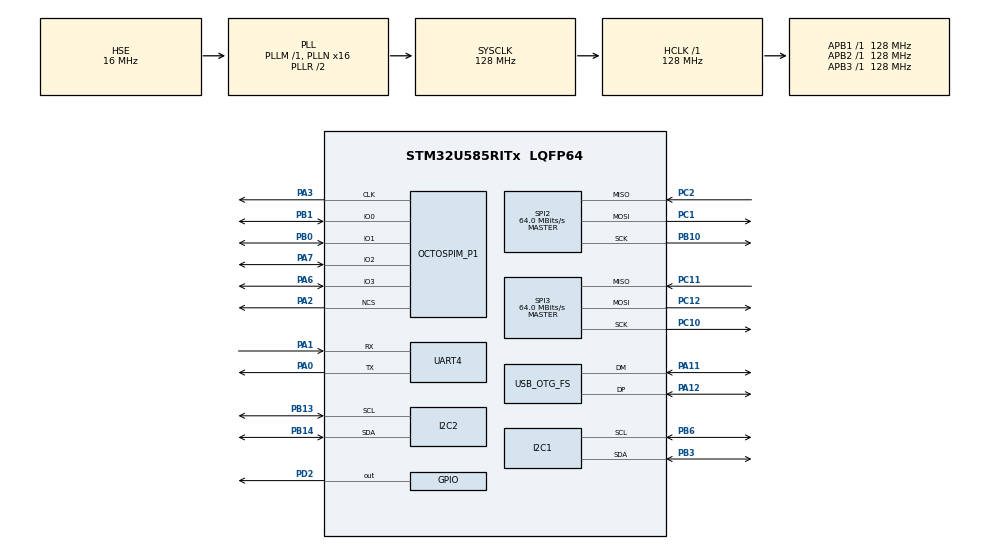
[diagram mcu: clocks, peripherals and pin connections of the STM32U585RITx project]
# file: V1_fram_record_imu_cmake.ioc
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CORTEX_M33_NS.userName=CORTEX_M33
I2C1.Timing=0x20A0C4DF
I2C2.Timing=0x20A0C4DF
Mcu.Family=STM32U5
Mcu.Name=STM32U585RITx
Mcu.Package=LQFP64
NVIC.OTG_FS_IRQn=true\:0\:0\:false\:false\:true\:true\:true\:true
NVIC.PriorityGroup=NVIC_PRIORITYGROUP_4
OCTOSPI1.ClockPrescaler=2
OCTOSPI1.DeviceSize=22
PA0.Mode=Asynchronous
PA0.Signal=UART4_TX
PA1.Mode=Asynchronous
PA1.Signal=UART4_RX
PA11.Mode=Device_Only
PA11.Signal=USB_OTG_FS_DM
PA12.Mode=Device_Only
PA12.Signal=USB_OTG_FS_DP
PA13\ (JTMS/SWDIO).Mode=Serial_Wire
PA13\ (JTMS/SWDIO).Signal=DEBUG_JTMS-SWDIO
PA14\ (JTCK/SWCLK).Mode=Serial_Wire
PA14\ (JTCK/SWCLK).Signal=DEBUG_JTCK-SWCLK
PA2.Mode=OCTOSPI1_Port1_NCS
PA2.Signal=OCTOSPIM_P1_NCS
PA3.Mode=O1_P1_CLK
PA3.Signal=OCTOSPIM_P1_CLK
PA6.Mode=OCTOSPI1_IOL_Port1L
PA6.Signal=OCTOSPIM_P1_IO3
PA7.Mode=OCTOSPI1_IOL_Port1L
PA7.Signal=OCTOSPIM_P1_IO2
PB0.Mode=OCTOSPI1_IOL_Port1L
PB0.Signal=OCTOSPIM_P1_IO1
PB1.Mode=OCTOSPI1_IOL_Port1L
PB1.Signal=OCTOSPIM_P1_IO0
PB10.Mode=Full_Duplex_Master
PB10.Signal=SPI2_SCK
PB13.Mode=I2C
PB13.Signal=I2C2_SCL
PB14.Mode=I2C
PB14.Signal=I2C2_SDA
PB3\ (JTDO/TRACESWO).Mode=I2C
PB3\ (JTDO/TRACESWO).Signal=I2C1_SDA
PB6.Mode=I2C
PB6.Signal=I2C1_SCL
PC1.Mode=Full_Duplex_Master
PC1.Signal=SPI2_MOSI
PC10.Mode=Full_Duplex_Master
PC10.Signal=SPI3_SCK
PC11.Mode=Full_Duplex_Master
PC11.Signal=SPI3_MISO
PC12.Mode=Full_Duplex_Master
PC12.Signal=SPI3_MOSI
PC14-OSC32_IN\ (PC14).Mode=LSE-External-Oscillator
PC14-OSC32_IN\ (PC14).Signal=RCC_OSC32_IN
PC15-OSC32_OUT\ (PC15).Mode=LSE-External-Oscillator
PC15-OSC32_OUT\ (PC15).Signal=RCC_OSC32_OUT
PC2.Mode=Full_Duplex_Master
PC2.Signal=SPI2_MISO
PD2.Signal=GPIO_Output
PH0-OSC_IN\ (PH0).Mode=HSE-External-Oscillator
PH0-OSC_IN\ (PH0).Signal=RCC_OSC_IN
PH1-OSC_OUT\ (PH1).Mode=HSE-External-Oscillator
PH1-OSC_OUT\ (PH1).Signal=RCC_OSC_OUT
ProjectManager.HeapSize=0x200
ProjectManager.StackSize=0x400
ProjectManager.TargetToolchain=CMake
RCC.ADCFreq_Value=16000000
RCC.AHBFreq_Value=128000000
RCC.APB1Freq_Value=128000000
RCC.APB1TimFreq_Value=128000000
RCC.APB2Freq_Value=128000000
RCC.APB2TimFreq_Value=128000000
RCC.APB3Freq_Value=128000000
RCC.CortexFreq_Value=128000000
RCC.EPOD_VALUE=16000000
RCC.HCLKFreq_Value=128000000
RCC.HSE_VALUE=16000000
RCC.HSI48_VALUE=48000000
RCC.HSI_VALUE=16000000
RCC.LSIDIV_VALUE=32000
RCC.MSI_VALUE=4000000
RCC.PLLN=16
RCC.PLLSourceVirtual=RCC_PLLSOURCE_HSE
RCC.SYSCLKFreq_VALUE=128000000
RCC.SYSCLKSource=RCC_SYSCLKSOURCE_PLLCLK
RCC.USBFreq_Value=48000000
RCC.VCOOutputFreq_Value=256000000
SPI2.BaudRatePrescaler=SPI_BAUDRATEPRESCALER_2
SPI2.CalculateBaudRate=64.0 MBits/s
SPI2.DataSize=SPI_DATASIZE_8BIT
SPI2.Direction=SPI_DIRECTION_2LINES
SPI2.Mode=SPI_MODE_MASTER
SPI2.VirtualType=VM_MASTER
SPI3.CalculateBaudRate=64.0 MBits/s
SPI3.Direction=SPI_DIRECTION_2LINES
SPI3.Mode=SPI_MODE_MASTER
SPI3.VirtualType=VM_MASTER
USB_OTG_FS.VirtualMode=Device_Only
VP_ICACHE_VS_ICACHE.Mode=DirectMappedCache
VP_LPBAMQUEUE_VS_QUEUE.Mode=QUEUEMODE
VP_LPBAM_VS_SIG1.Mode=SmartRun
VP_LPBAM_VS_SIG4.Mode=LPDMA1
VP_MEMORYMAP_VS_MEMORYMAP.Mode=CurAppReg
VP_OCTOSPI1_VS_quad.Mode=quad_mode
VP_PWR_VS_SECSignals.Mode=Security/Privilege
board=custom

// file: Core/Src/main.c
/* USER CODE BEGIN Header */
/**
  ******************************************************************************
  * @file           : main.c
  * @brief          : Main program body
  ******************************************************************************
  * @attention
  *
  * Copyright (c) 2026 STMicroelectronics.
  * All rights reserved.
  *
  * This software is licensed under terms that can be found in the LICENSE file
  * in the root directory of this software component.
  * If no LICENSE file comes with this software, it is provided AS-IS.
  *
  ******************************************************************************
  */
/* USER CODE END Header */
#include "main.h"

/* USER CODE BEGIN Includes */
#include <stdlib.h>
#include <stdio.h>
#include "tusb.h"
#include "tusb_config.h"
#include "icm20948.h"
/* USER CODE END Includes */

I2C_HandleTypeDef hi2c1;
I2C_HandleTypeDef hi2c2;

OSPI_HandleTypeDef hospi1;

SPI_HandleTypeDef hspi2;
SPI_HandleTypeDef hspi3;

UART_HandleTypeDef huart4;

PCD_HandleTypeDef hpcd_USB_OTG_FS;

void SystemClock_Config(void);
static void MX_GPIO_Init(void);
static void MX_I2C1_Init(void);
static void MX_OCTOSPI1_Init(void);
static void MX_SPI2_Init(void);
static void MX_SPI3_Init(void);
static void MX_USB_OTG_FS_PCD_Init(void);
static void MX_I2C2_Init(void);
static void MX_UART4_Init(void);
static void MX_ICACHE_Init(void);

/* USER CODE BEGIN 0 */
int _write(int file, char *ptr, int len)
{
    if (tud_cdc_connected())
    {
        tud_cdc_write(ptr, len);
        tud_cdc_write_flush();
    }

    return len;
}
/* USER CODE END 0 */

int main(void)
{

  /* MCU Configuration--------------------------------------------------------*/

  /* Reset of all peripherals, Initializes the Flash interface and the Systick. */
  HAL_Init();

  /* Configure the system clock */
  SystemClock_Config();

  /* Initialize all configured peripherals */
  MX_GPIO_Init();
  MX_I2C1_Init();
  MX_OCTOSPI1_Init();
  MX_SPI2_Init();
  MX_SPI3_Init();
  MX_USB_OTG_FS_PCD_Init();
  MX_I2C2_Init();
  MX_UART4_Init();
  MX_ICACHE_Init();
  /* USER CODE BEGIN 2 */
//  tusb_rhport_init_t dev_init = {
//		  .role = TUSB_ROLE_DEVICE,
//		  .speed = TUSB_SPEED_FULL
//  };
//
//  tusb_init(0, &dev_init);
  tusb_init();

  /* Enable LDO for ICM20948 via PD2 */
  HAL_GPIO_WritePin(GPIOD, GPIO_PIN_2, GPIO_PIN_SET);
  HAL_Delay(10);

  ICM20948_Init(&hi2c1);

  /* USER CODE END 2 */

  /* Infinite loop */
  /* USER CODE BEGIN WHILE */
  while (1)
  {
    tud_task();

    static uint32_t last_print = 0;
    if (HAL_GetTick() - last_print >= 1000)
    {
      last_print = HAL_GetTick();
      if (tud_cdc_connected())
      {
        ICM20948_Data_t imu;
        if (ICM20948_ReadAll(&hi2c1, &imu) == HAL_OK)
        {
          ICM20948_PrintData(&imu);
        }
      }
    }
    /* USER CODE END WHILE */

  }
}

void SystemClock_Config(void)
{
  RCC_OscInitTypeDef RCC_OscInitStruct = {0};
  RCC_ClkInitTypeDef RCC_ClkInitStruct = {0};

  /** Configure the main internal regulator output voltage
  */
  if (HAL_PWREx_ControlVoltageScaling(PWR_REGULATOR_VOLTAGE_SCALE1) != HAL_OK)
  {
    Error_Handler();
  }

  /** Initializes the CPU, AHB and APB buses clocks
  */
  RCC_OscInitStruct.OscillatorType = RCC_OSCILLATORTYPE_HSI48|RCC_OSCILLATORTYPE_HSE;
  RCC_OscInitStruct.HSEState = RCC_HSE_ON;
  RCC_OscInitStruct.HSI48State = RCC_HSI48_ON;
  RCC_OscInitStruct.PLL.PLLState = RCC_PLL_ON;
  RCC_OscInitStruct.PLL.PLLSource = RCC_PLLSOURCE_HSE;
  RCC_OscInitStruct.PLL.PLLMBOOST = RCC_PLLMBOOST_DIV1;
  RCC_OscInitStruct.PLL.PLLM = 1;
  RCC_OscInitStruct.PLL.PLLN = 16;
  RCC_OscInitStruct.PLL.PLLP = 2;
  RCC_OscInitStruct.PLL.PLLQ = 2;
  RCC_OscInitStruct.PLL.PLLR = 2;
  RCC_OscInitStruct.PLL.PLLRGE = RCC_PLLVCIRANGE_1;
  RCC_OscInitStruct.PLL.PLLFRACN = 0;
  if (HAL_RCC_OscConfig(&RCC_OscInitStruct) != HAL_OK)
  {
    Error_Handler();
  }

  /** Initializes the CPU, AHB and APB buses clocks
  */
  RCC_ClkInitStruct.ClockType = RCC_CLOCKTYPE_HCLK|RCC_CLOCKTYPE_SYSCLK
                              |RCC_CLOCKTYPE_PCLK1|RCC_CLOCKTYPE_PCLK2
                              |RCC_CLOCKTYPE_PCLK3;
  RCC_ClkInitStruct.SYSCLKSource = RCC_SYSCLKSOURCE_PLLCLK;
  RCC_ClkInitStruct.AHBCLKDivider = RCC_SYSCLK_DIV1;
  RCC_ClkInitStruct.APB1CLKDivider = RCC_HCLK_DIV1;
  RCC_ClkInitStruct.APB2CLKDivider = RCC_HCLK_DIV1;
  RCC_ClkInitStruct.APB3CLKDivider = RCC_HCLK_DIV1;

  if (HAL_RCC_ClockConfig(&RCC_ClkInitStruct, FLASH_LATENCY_3) != HAL_OK)
  {
    Error_Handler();
  }
}

static void MX_I2C1_Init(void)
{

  hi2c1.Instance = I2C1;
  hi2c1.Init.Timing = 0x20A0C4DF;
  hi2c1.Init.OwnAddress1 = 0;
  hi2c1.Init.AddressingMode = I2C_ADDRESSINGMODE_7BIT;
  hi2c1.Init.DualAddressMode = I2C_DUALADDRESS_DISABLE;
  hi2c1.Init.OwnAddress2 = 0;
  hi2c1.Init.OwnAddress2Masks = I2C_OA2_NOMASK;
  hi2c1.Init.GeneralCallMode = I2C_GENERALCALL_DISABLE;
  hi2c1.Init.NoStretchMode = I2C_NOSTRETCH_DISABLE;
  if (HAL_I2C_Init(&hi2c1) != HAL_OK)
  {
    Error_Handler();
  }

  /** Configure Analogue filter
  */
  if (HAL_I2CEx_ConfigAnalogFilter(&hi2c1, I2C_ANALOGFILTER_ENABLE) != HAL_OK)
  {
    Error_Handler();
  }

  /** Configure Digital filter
  */
  if (HAL_I2CEx_ConfigDigitalFilter(&hi2c1, 0) != HAL_OK)
  {
    Error_Handler();
  }

}

static void MX_I2C2_Init(void)
{

  hi2c2.Instance = I2C2;
  hi2c2.Init.Timing = 0x20A0C4DF;
  hi2c2.Init.OwnAddress1 = 0;
  hi2c2.Init.AddressingMode = I2C_ADDRESSINGMODE_7BIT;
  hi2c2.Init.DualAddressMode = I2C_DUALADDRESS_DISABLE;
  hi2c2.Init.OwnAddress2 = 0;
  hi2c2.Init.OwnAddress2Masks = I2C_OA2_NOMASK;
  hi2c2.Init.GeneralCallMode = I2C_GENERALCALL_DISABLE;
  hi2c2.Init.NoStretchMode = I2C_NOSTRETCH_DISABLE;
  if (HAL_I2C_Init(&hi2c2) != HAL_OK)
  {
    Error_Handler();
  }

  /** Configure Analogue filter
  */
  if (HAL_I2CEx_ConfigAnalogFilter(&hi2c2, I2C_ANALOGFILTER_ENABLE) != HAL_OK)
  {
    Error_Handler();
  }

  /** Configure Digital filter
  */
  if (HAL_I2CEx_ConfigDigitalFilter(&hi2c2, 0) != HAL_OK)
  {
    Error_Handler();
  }

}

static void MX_ICACHE_Init(void)
{

  /** Enable instruction cache in 1-way (direct mapped cache)
  */
  if (HAL_ICACHE_ConfigAssociativityMode(ICACHE_1WAY) != HAL_OK)
  {
    Error_Handler();
  }
  if (HAL_ICACHE_Enable() != HAL_OK)
  {
    Error_Handler();
  }

}

static void MX_OCTOSPI1_Init(void)
{

  OSPIM_CfgTypeDef sOspiManagerCfg = {0};

  /* OCTOSPI1 parameter configuration*/
  hospi1.Instance = OCTOSPI1;
  hospi1.Init.FifoThreshold = 1;
  hospi1.Init.DualQuad = HAL_OSPI_DUALQUAD_DISABLE;
  hospi1.Init.MemoryType = HAL_OSPI_MEMTYPE_MICRON;
  hospi1.Init.DeviceSize = 22;
  hospi1.Init.ChipSelectHighTime = 1;
  hospi1.Init.FreeRunningClock = HAL_OSPI_FREERUNCLK_DISABLE;
  hospi1.Init.ClockMode = HAL_OSPI_CLOCK_MODE_0;
  hospi1.Init.WrapSize = HAL_OSPI_WRAP_NOT_SUPPORTED;
  hospi1.Init.ClockPrescaler = 2;
  hospi1.Init.SampleShifting = HAL_OSPI_SAMPLE_SHIFTING_NONE;
  hospi1.Init.DelayHoldQuarterCycle = HAL_OSPI_DHQC_DISABLE;
  hospi1.Init.ChipSelectBoundary = 0;
  hospi1.Init.DelayBlockBypass = HAL_OSPI_DELAY_BLOCK_BYPASSED;
  hospi1.Init.MaxTran = 0;
  hospi1.Init.Refresh = 0;
  if (HAL_OSPI_Init(&hospi1) != HAL_OK)
  {
    Error_Handler();
  }
  sOspiManagerCfg.ClkPort = 1;
  sOspiManagerCfg.NCSPort = 1;
  sOspiManagerCfg.IOLowPort = HAL_OSPIM_IOPORT_1_LOW;
  if (HAL_OSPIM_Config(&hospi1, &sOspiManagerCfg, HAL_OSPI_TIMEOUT_DEFAULT_VALUE) != HAL_OK)
  {
    Error_Handler();
  }

}

static void MX_SPI2_Init(void)
{

  SPI_AutonomousModeConfTypeDef HAL_SPI_AutonomousMode_Cfg_Struct = {0};

  /* SPI2 parameter configuration*/
  hspi2.Instance = SPI2;
  hspi2.Init.Mode = SPI_MODE_MASTER;
  hspi2.Init.Direction = SPI_DIRECTION_2LINES;
  hspi2.Init.DataSize = SPI_DATASIZE_4BIT;
  hspi2.Init.CLKPolarity = SPI_POLARITY_LOW;
  hspi2.Init.CLKPhase = SPI_PHASE_1EDGE;
  hspi2.Init.NSS = SPI_NSS_SOFT;
  hspi2.Init.BaudRatePrescaler = SPI_BAUDRATEPRESCALER_2;
  hspi2.Init.FirstBit = SPI_FIRSTBIT_MSB;
  hspi2.Init.TIMode = SPI_TIMODE_DISABLE;
  hspi2.Init.CRCCalculation = SPI_CRCCALCULATION_DISABLE;
  hspi2.Init.CRCPolynomial = 0x7;
  hspi2.Init.NSSPMode = SPI_NSS_PULSE_ENABLE;
  hspi2.Init.NSSPolarity = SPI_NSS_POLARITY_LOW;
  hspi2.Init.FifoThreshold = SPI_FIFO_THRESHOLD_01DATA;
  hspi2.Init.MasterSSIdleness = SPI_MASTER_SS_IDLENESS_00CYCLE;
  hspi2.Init.MasterInterDataIdleness = SPI_MASTER_INTERDATA_IDLENESS_00CYCLE;
  hspi2.Init.MasterReceiverAutoSusp = SPI_MASTER_RX_AUTOSUSP_DISABLE;
  hspi2.Init.MasterKeepIOState = SPI_MASTER_KEEP_IO_STATE_DISABLE;
  hspi2.Init.IOSwap = SPI_IO_SWAP_DISABLE;
  hspi2.Init.ReadyMasterManagement = SPI_RDY_MASTER_MANAGEMENT_INTERNALLY;
  hspi2.Init.ReadyPolarity = SPI_RDY_POLARITY_HIGH;
  if (HAL_SPI_Init(&hspi2) != HAL_OK)
  {
    Error_Handler();
  }
  HAL_SPI_AutonomousMode_Cfg_Struct.TriggerState = SPI_AUTO_MODE_DISABLE;
  HAL_SPI_AutonomousMode_Cfg_Struct.TriggerSelection = SPI_GRP1_GPDMA_CH0_TCF_TRG;
  HAL_SPI_AutonomousMode_Cfg_Struct.TriggerPolarity = SPI_TRIG_POLARITY_RISING;
  if (HAL_SPIEx_SetConfigAutonomousMode(&hspi2, &HAL_SPI_AutonomousMode_Cfg_Struct) != HAL_OK)
  {
    Error_Handler();
  }

}

static void MX_SPI3_Init(void)
{

  SPI_AutonomousModeConfTypeDef HAL_SPI_AutonomousMode_Cfg_Struct = {0};

  /* SPI3 parameter configuration*/
  hspi3.Instance = SPI3;
  hspi3.Init.Mode = SPI_MODE_MASTER;
  hspi3.Init.Direction = SPI_DIRECTION_2LINES;
  hspi3.Init.DataSize = SPI_DATASIZE_8BIT;
  hspi3.Init.CLKPolarity = SPI_POLARITY_LOW;
  hspi3.Init.CLKPhase = SPI_PHASE_1EDGE;
  hspi3.Init.NSS = SPI_NSS_SOFT;
  hspi3.Init.BaudRatePrescaler = SPI_BAUDRATEPRESCALER_2;
  hspi3.Init.FirstBit = SPI_FIRSTBIT_MSB;
  hspi3.Init.TIMode = SPI_TIMODE_DISABLE;
  hspi3.Init.CRCCalculation = SPI_CRCCALCULATION_DISABLE;
  hspi3.Init.CRCPolynomial = 0x7;
  hspi3.Init.NSSPMode = SPI_NSS_PULSE_ENABLE;
  hspi3.Init.NSSPolarity = SPI_NSS_POLARITY_LOW;
  hspi3.Init.FifoThreshold = SPI_FIFO_THRESHOLD_01DATA;
  hspi3.Init.MasterSSIdleness = SPI_MASTER_SS_IDLENESS_00CYCLE;
  hspi3.Init.MasterInterDataIdleness = SPI_MASTER_INTERDATA_IDLENESS_00CYCLE;
  hspi3.Init.MasterReceiverAutoSusp = SPI_MASTER_RX_AUTOSUSP_DISABLE;
  hspi3.Init.MasterKeepIOState = SPI_MASTER_KEEP_IO_STATE_DISABLE;
  hspi3.Init.IOSwap = SPI_IO_SWAP_DISABLE;
  hspi3.Init.ReadyMasterManagement = SPI_RDY_MASTER_MANAGEMENT_INTERNALLY;
  hspi3.Init.ReadyPolarity = SPI_RDY_POLARITY_HIGH;
  if (HAL_SPI_Init(&hspi3) != HAL_OK)
  {
    Error_Handler();
  }
  HAL_SPI_AutonomousMode_Cfg_Struct.TriggerState = SPI_AUTO_MODE_DISABLE;
  HAL_SPI_AutonomousMode_Cfg_Struct.TriggerSelection = SPI_GRP2_LPDMA_CH0_TCF_TRG;
  HAL_SPI_AutonomousMode_Cfg_Struct.TriggerPolarity = SPI_TRIG_POLARITY_RISING;
  if (HAL_SPIEx_SetConfigAutonomousMode(&hspi3, &HAL_SPI_AutonomousMode_Cfg_Struct) != HAL_OK)
  {
    Error_Handler();
  }

}

static void MX_UART4_Init(void)
{

  huart4.Instance = UART4;
  huart4.Init.BaudRate = 115200;
  huart4.Init.WordLength = UART_WORDLENGTH_8B;
  huart4.Init.StopBits = UART_STOPBITS_1;
  huart4.Init.Parity = UART_PARITY_NONE;
  huart4.Init.Mode = UART_MODE_TX_RX;
  huart4.Init.HwFlowCtl = UART_HWCONTROL_NONE;
  huart4.Init.OverSampling = UART_OVERSAMPLING_16;
  huart4.Init.OneBitSampling = UART_ONE_BIT_SAMPLE_DISABLE;
  huart4.Init.ClockPrescaler = UART_PRESCALER_DIV1;
  huart4.AdvancedInit.AdvFeatureInit = UART_ADVFEATURE_NO_INIT;
  if (HAL_UART_Init(&huart4) != HAL_OK)
  {
    Error_Handler();
  }
  if (HAL_UARTEx_SetTxFifoThreshold(&huart4, UART_TXFIFO_THRESHOLD_1_8) != HAL_OK)
  {
    Error_Handler();
  }
  if (HAL_UARTEx_SetRxFifoThreshold(&huart4, UART_RXFIFO_THRESHOLD_1_8) != HAL_OK)
  {
    Error_Handler();
  }
  if (HAL_UARTEx_DisableFifoMode(&huart4) != HAL_OK)
  {
    Error_Handler();
  }

}

static void MX_USB_OTG_FS_PCD_Init(void)
{

  hpcd_USB_OTG_FS.Instance = USB_OTG_FS;
  hpcd_USB_OTG_FS.Init.dev_endpoints = 6;
  hpcd_USB_OTG_FS.Init.speed = PCD_SPEED_FULL;
  hpcd_USB_OTG_FS.Init.phy_itface = PCD_PHY_EMBEDDED;
  hpcd_USB_OTG_FS.Init.Sof_enable = DISABLE;
  hpcd_USB_OTG_FS.Init.low_power_enable = DISABLE;
  hpcd_USB_OTG_FS.Init.lpm_enable = DISABLE;
  hpcd_USB_OTG_FS.Init.battery_charging_enable = DISABLE;
  hpcd_USB_OTG_FS.Init.use_dedicated_ep1 = DISABLE;
  hpcd_USB_OTG_FS.Init.vbus_sensing_enable = DISABLE;
  hpcd_USB_OTG_FS.Init.dma_enable = DISABLE;
  if (HAL_PCD_Init(&hpcd_USB_OTG_FS) != HAL_OK)
  {
    Error_Handler();
  }

}

static void MX_GPIO_Init(void)
{
  GPIO_InitTypeDef GPIO_InitStruct = {0};

  /* GPIO Ports Clock Enable */
  __HAL_RCC_GPIOC_CLK_ENABLE();
  __HAL_RCC_GPIOH_CLK_ENABLE();
  __HAL_RCC_GPIOA_CLK_ENABLE();
  __HAL_RCC_GPIOB_CLK_ENABLE();
  __HAL_RCC_GPIOD_CLK_ENABLE();

  /*Configure GPIO pin Output Level */
  HAL_GPIO_WritePin(GPIOD, GPIO_PIN_2, GPIO_PIN_RESET);

  /*Configure GPIO pin : PD2 */
  GPIO_InitStruct.Pin = GPIO_PIN_2;
  GPIO_InitStruct.Mode = GPIO_MODE_OUTPUT_PP;
  GPIO_InitStruct.Pull = GPIO_NOPULL;
  GPIO_InitStruct.Speed = GPIO_SPEED_FREQ_LOW;
  HAL_GPIO_Init(GPIOD, &GPIO_InitStruct);

}

void Error_Handler(void)
{
  __disable_irq();
  while (1)
  {
  }
}
